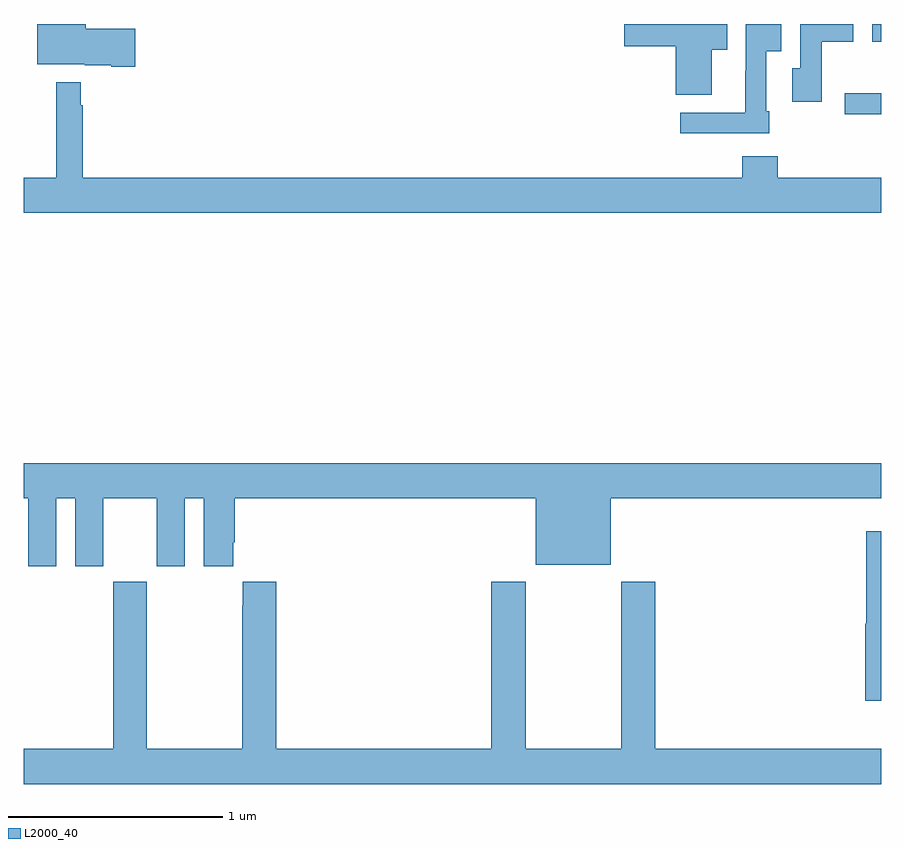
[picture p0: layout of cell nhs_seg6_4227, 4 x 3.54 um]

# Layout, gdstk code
import gdstk
lib = gdstk.Library(unit=1e-6, precision=1e-09)
def R(c, l, rs):  # rectangles x0, y0, x1, y1
    for r in rs: c.add(gdstk.rectangle(r[:2], r[2:], *l))
def P(c, l, *ps):  # polygons
    for p in ps: c.add(gdstk.Polygon(p, *l))
L2000_40 = (2000, 40)

nhs_seg6_4227 = lib.new_cell('nhs_seg6_4227')
R(nhs_seg6_4227, L2000_40, [(362.829,997.079,363,997.177), (362.957,997.418,363,997.5)])
P(nhs_seg6_4227, L2000_40, [(359.521,997.479),(359.29,997.479),(359.29,997.5),(359.063,997.5),(359.063,997.313),(359.286,997.313),(359.286,997.307),(359.408,997.307),(359.408,997.301),(359.521,997.301)],
  [(362.209,997.379),(362.282,997.379),(362.282,997.5),(361.802,997.5),(361.802,997.397),(362.042,997.397),(362.042,997.171),(362.209,997.171)],
  [(362.476,997.093),(362.463,997.093),(362.463,997.372),(362.533,997.372),(362.533,997.5),(362.367,997.5),(362.367,997.283),(362.366,997.283),(362.366,997.086),(362.061,997.086),(362.061,996.99),(362.476,996.99)],
  [(362.721,997.418),(362.868,997.418),(362.868,997.5),(362.622,997.5),(362.622,997.293),(362.585,997.293),(362.585,997.137),(362.721,997.137)],
  [(363,996.784),(362.516,996.784),(362.516,996.883),(362.351,996.883),(362.351,996.784),(359.275,996.784),(359.275,997.121),(359.267,997.121),(359.267,997.228),(359.153,997.228),(359.153,996.784),(359,996.784),(359,996.62),(363,996.62)],
  [(359.152,995.288),(359.24,995.288),(359.24,994.971),(359.371,994.971),(359.371,995.288),(359.621,995.288),(359.621,994.971),(359.752,994.971),(359.752,995.288),(359.84,995.288),(359.84,994.971),(359.977,994.971),(359.977,995.083),(359.984,995.083),(359.984,995.288),(361.388,995.288),(361.388,994.979),(361.738,994.979),(361.738,995.288),(363,995.288),(363,995.452),(359,995.452),(359,995.288),(359.021,995.288),(359.021,994.971),(359.152,994.971)],
  [(363,995.134),(362.93,995.134),(362.93,994.704),(362.924,994.704),(362.924,994.345),(363,994.345)],
  [(363,994.12),(361.946,994.12),(361.946,994.9),(361.786,994.9),(361.786,994.12),(361.341,994.12),(361.341,994.9),(361.181,994.9),(361.181,994.12),(360.179,994.12),(360.179,994.9),(360.023,994.9),(360.023,994.787),(360.019,994.787),(360.019,994.12),(359.574,994.12),(359.574,994.9),(359.419,994.9),(359.419,994.12),(359,994.12),(359,993.956),(363,993.956)])

lib.write_gds('nhs_seg6_4227.gds')
